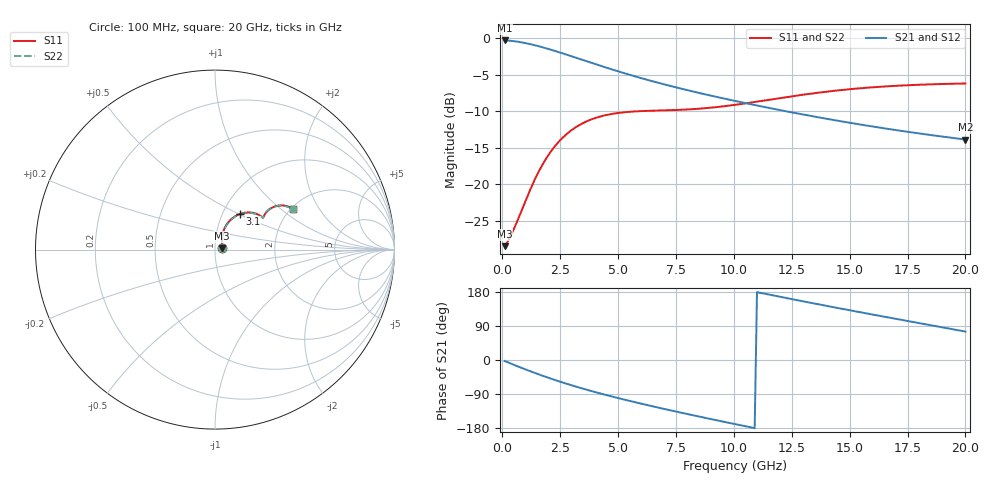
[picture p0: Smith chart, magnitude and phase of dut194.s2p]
! Touchstone file exported from HFSS 2024.1.0
!  File:  C:/UserFiles/LocalFiles/RDL_TSV_Batchsim/temp_RDL_TSV_194_1779442261.aedt
!  Generated:  05:48:48 PM May 22, 2026
!  Design:  RDL_TSV
!  Project:  temp_RDL_TSV_194_1779442261
!  Setup:  Setup1
!  Solution:  Sweep
! Variables:
!  dtsv = 11.77um
!  hbump = 3um
!  htsv = 82.68um
!  ldown = 415.29um
!  lrdl = 682.8um
!  p = 40
!  p1 = 56.03um
!  rhole = 10um
!  subl = 3977.07um
!  t = 450um
!  tdown = 4.62um
!  trdl = 2.64um
!  viad = 10um
!  wdown = 29.3um
!  wrdl = 10.38um
!  xbump = 18um
# GHz S MA R 50.000000
! Terminal data exported
! Port[1] = TM1_1_T1
! Port[2] = TM1_4_T1
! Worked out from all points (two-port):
!   200 points, 100 MHz to 20 GHz, reference 50 ohm
!   highest |S21| = -0.33 dB at 100 MHz (marker M1); lowest = -13.9 dB at 20 GHz (marker M2)
!   |S21| within 3 dB of the highest: start of sweep to 3.797 GHz
!   lowest |S11| = -28.4 dB at 100 MHz (marker M3), VSWR 1.08, Z = 53.9 + j0.718 ohm
!   |S11| at or under -10 dB: start of sweep to 5.873 GHz
!   |S22| runs from -28.4 to -6.2 dB; largest |S21 - S12| = 1.5e-13
!   S11 on the Smith chart (normalised r, x): 100 MHz: 1.08, +0.01; 3.1 GHz: 1.20, +0.51; 20 GHz: 2.05, +1.22
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0.1  0.0379 10.1  0.9622 -2.6  0.9622 -2.6  0.0379 10.1
! Gamma 0 0 0 0
! Port Impedance 50 0 50 0
0.4  0.04589 33.4  0.9557 -10.2  0.9557 -10.2  0.04591 33.4
0.8  0.06435 53.2  0.9363 -20.1  0.9363 -20.1  0.06435 53.1
1.2  0.09169 63.0  0.9088 -29.5  0.9088 -29.5  0.09159 62.8
1.6  0.1247 65.8  0.8764 -38.5  0.8764 -38.5  0.1245 65.6
1.9  0.1508 65.3  0.8501 -45.0  0.8501 -45.0  0.1504 65.1
2.3  0.1846 62.6  0.8137 -53.3  0.8137 -53.3  0.184 62.4
2.7  0.2153 59.0  0.7769 -61.2  0.7769 -61.2  0.2145 58.8
3.1  0.2416 55.1  0.7408 -68.8  0.7408 -68.8  0.2406 54.9
3.5  0.2631 51.2  0.706 -75.9  0.706 -75.9  0.2619 51.0
4.3  0.293 44.4  0.6418 -89.4  0.6418 -89.4  0.2915 44.3
5.1  0.309 39.3  0.5858 -102.0  0.5858 -102.0  0.3073 39.2
5.9  0.3164 36.0  0.5376 -113.8  0.5376 -113.8  0.3144 35.8
6.8  0.32 34.1  0.4914 -126.5  0.4914 -126.5  0.3179 34.0
8.4  0.3281 34.2  0.4252 -148.0  0.4252 -148.0  0.326 34.1
10.1  0.3505 35.9  0.3704 -169.8  0.3704 -169.8  0.3485 35.9
11.8  0.3846 36.5  0.3264 169.1  0.3264 169.1  0.3828 36.5
13.4  0.4184 35.4  0.2922 149.9  0.2922 149.9  0.4166 35.4
15  0.447 33.4  0.2638 131.3  0.2638 131.3  0.4453 33.4
16.7  0.4687 31.0  0.239 111.9  0.239 111.9  0.467 31.0
18.3  0.4815 29.0  0.2197 94.0  0.2197 94.0  0.4797 29.0
20  0.4894 27.6  0.2027 75.0  0.2027 75.0  0.4876 27.5
